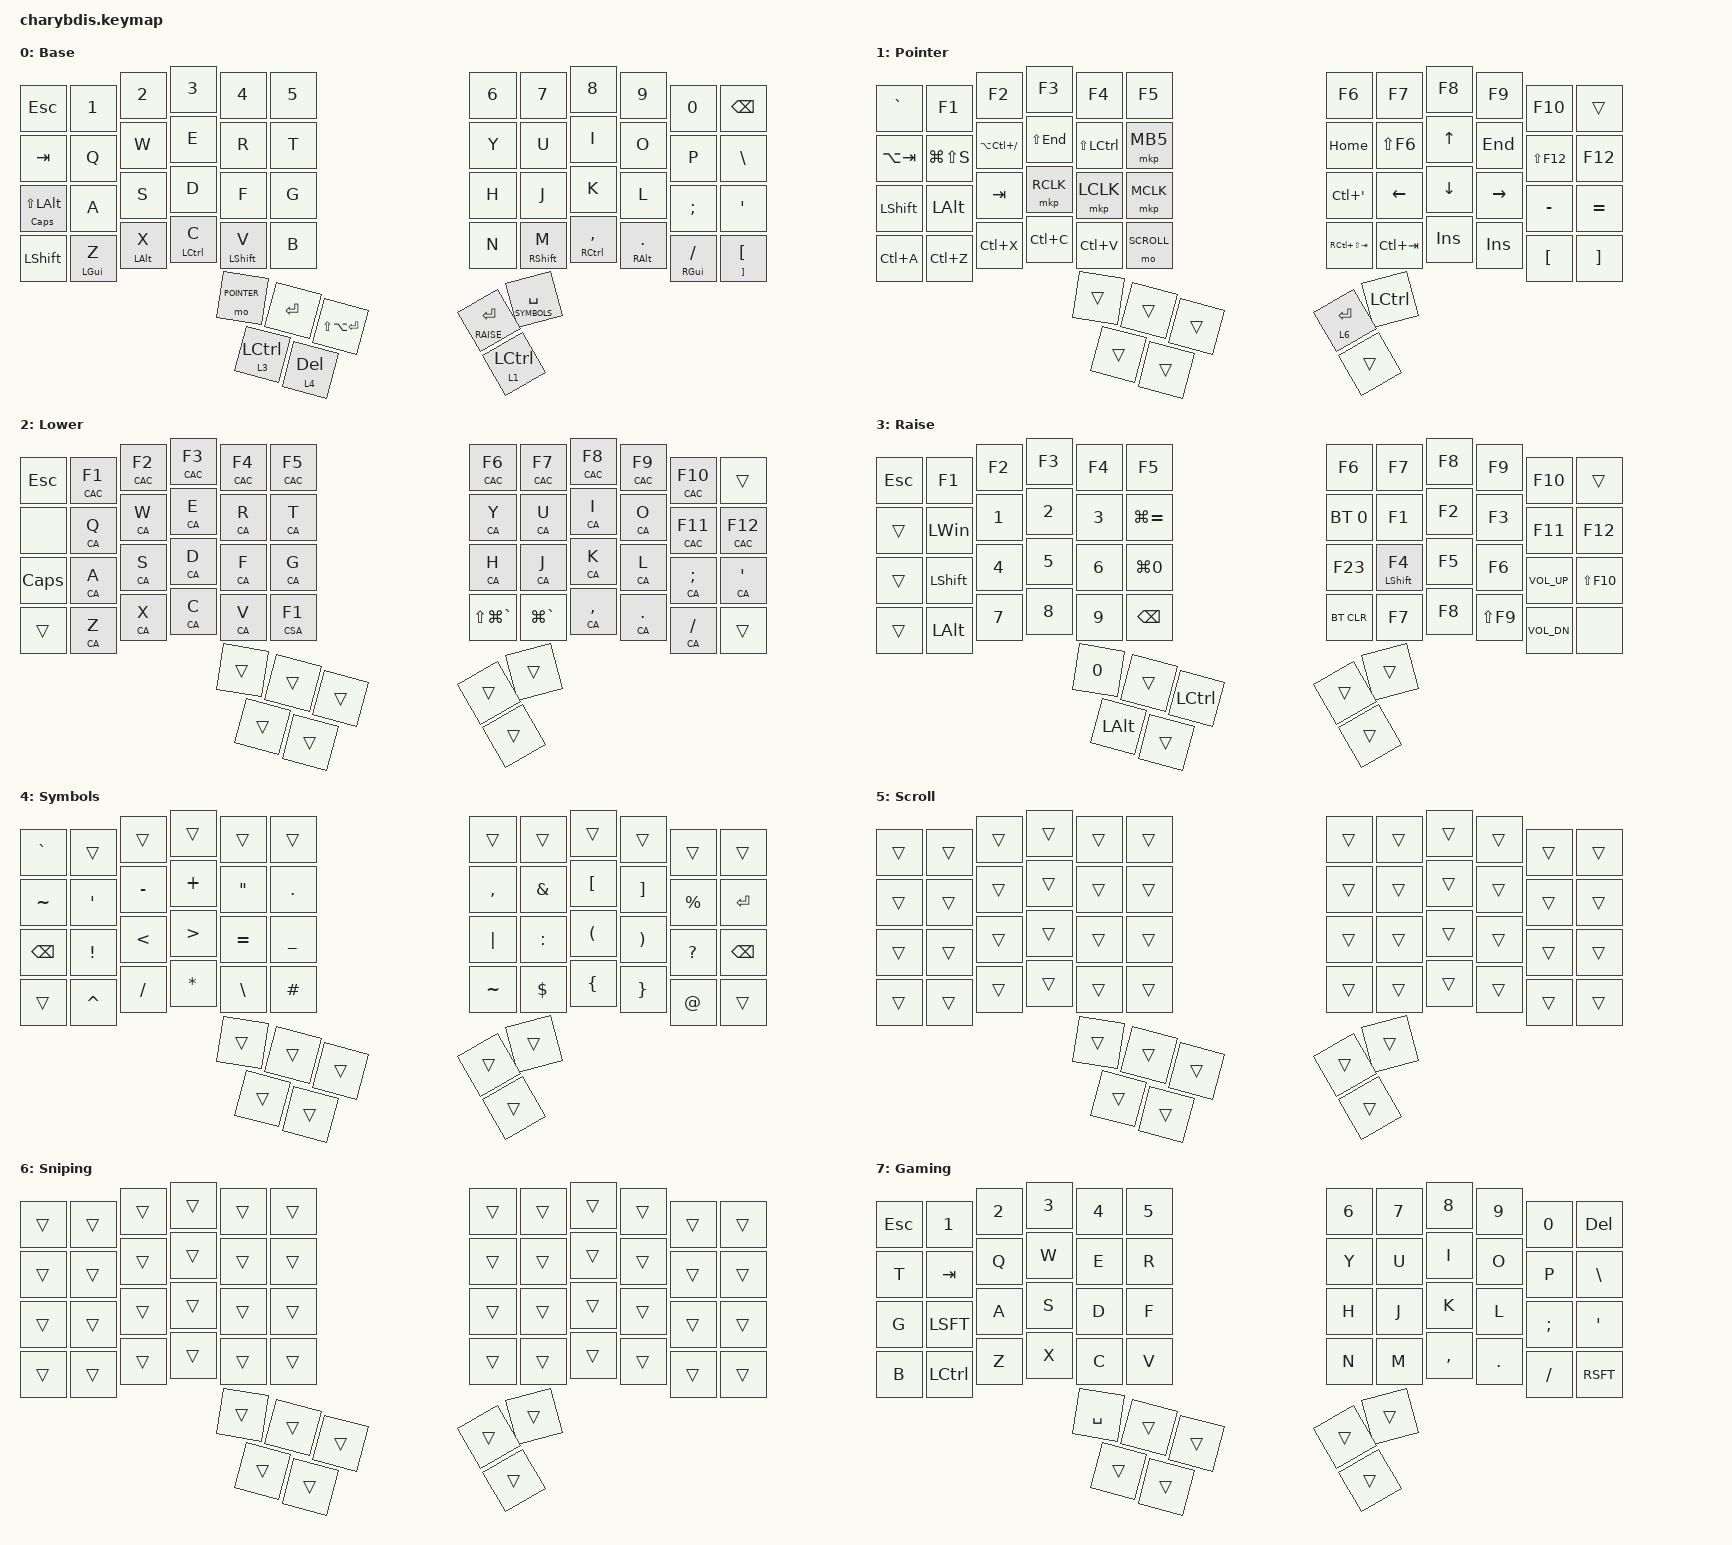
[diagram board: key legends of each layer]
#include <dt-bindings/zmk/mouse.h>
#include <behaviors/mouse_keys.dtsi>
#include <behaviors.dtsi>
#include <dt-bindings/zmk/bt.h>
#include <dt-bindings/zmk/keys.h>
#include <dt-bindings/zmk/pointing.h>

/ {
    chosen { zmk,physical-layout = &charybdis_6col_layout; };
};

&mt {
    quick-tap-ms = <200>;
    flavor = "tap-preferred";
    tapping-term-ms = <170>;
};

&lt {
    quick-tap-ms = <200>;
    flavor = "tap-preferred";
    tapping-term-ms = <170>;
};

// Layer definitions

#define BASE 0
#define POINTER 1
#define LOWER 2
#define RAISE 3
#define SYMBOLS 4
#define SCROLL 5
#define SNIPING 6
#define GAMING 7

/ {
    behaviors {
        // Hold-tap behavior for layer with tap-preferred

        blt: blt {
            compatible = "zmk,behavior-hold-tap";
            #binding-cells = <2>;
            flavor = "tap-preferred";
            tapping-term-ms = <200>;
            quick-tap-ms = <300>;
            require-prior-idle-ms = <100>;
            bindings = <&mo>, <&kp>;
        };

        // Tap-dance for GUI/Ctrl+B

        gui_ctrlb: gui_ctrlb {
            compatible = "zmk,behavior-tap-dance";
            #binding-cells = <0>;
            tapping-term-ms = <200>;
            bindings = <&kp LGUI>, <&kp LC(B)>;
        };

        // Home row mods - Left hand

        hml: home_row_mod_left {
            compatible = "zmk,behavior-hold-tap";
            #binding-cells = <2>;
            flavor = "balanced";
            require-prior-idle-ms = <150>;
            tapping-term-ms = <280>;
            quick-tap-ms = <175>;
            bindings = <&kp>, <&kp>;

            hold-trigger-key-positions = <6 7 8 9 10 11 18 19 20 21 22 23 30 31 32 33 34 35 42 43 44 45 46 47 53 54 55>; // Right side keys
            hold-trigger-on-release;
        };

        // Home row mods - Right hand

        hmr: home_row_mod_right {
            compatible = "zmk,behavior-hold-tap";
            #binding-cells = <2>;
            flavor = "balanced";
            require-prior-idle-ms = <150>;
            tapping-term-ms = <280>;
            quick-tap-ms = <175>;
            bindings = <&kp>, <&kp>;

            hold-trigger-key-positions = <0 1 2 3 4 5 12 13 14 15 16 17 24 25 26 27 28 29 36 37 38 39 40 41 48 49 50 51 52>; // Left side keys
            hold-trigger-on-release;
        };
    };

    macros {
        // Ctrl+Alt+Cmd macro

        CAC: CAC {
            compatible = "zmk,behavior-macro-one-param";
            #binding-cells = <1>;
            bindings =
                <&macro_press>,
                <&kp LCTRL &kp LALT &kp LGUI &macro_param_1to1>,
                <&macro_tap>,
                <&kp MACRO_PLACEHOLDER>,
                <&macro_release>,
                <&kp LCTRL &kp LALT &kp LGUI>;
        };

        // Ctrl+Shift+Alt macro

        CSA: CSA {
            compatible = "zmk,behavior-macro-one-param";
            #binding-cells = <1>;
            bindings =
                <&macro_press>,
                <&kp LCTRL &kp LSHIFT &kp LALT &macro_param_1to1>,
                <&macro_tap>,
                <&kp MACRO_PLACEHOLDER>,
                <&macro_release>,
                <&kp LCTRL &kp LSHIFT &kp LALT>;
        };

        // Ctrl+Alt macro

        CA: CA {
            compatible = "zmk,behavior-macro-one-param";
            #binding-cells = <1>;
            bindings =
                <&macro_press>,
                <&kp LCTRL &kp LALT &macro_param_1to1>,
                <&macro_tap>,
                <&kp MACRO_PLACEHOLDER>,
                <&macro_release>,
                <&kp LCTRL &kp LALT>;
        };

        // Shift+Middle Click macro

        ls_mclk: ls_mclk {
            compatible = "zmk,behavior-macro";
            wait-ms = <0>;
            tap-ms = <10>;
            #binding-cells = <0>;
            bindings =
                <&macro_press>,
                <&kp LSHIFT>,
                <&macro_tap>,
                <&mkp MCLK>,
                <&macro_release>,
                <&kp LSHIFT>;
        };
    };

    combos {
        compatible = "zmk,combos";
        timeout-ms = <20>;
        require-prior-idle-ms = <250>;

        // Studio Unlock Combo - all three right thumb keys

        combo_studio_unlock {
            timeout-ms = <50>;
            key-positions = <53 54 55>;
            bindings = <&studio_unlock>;
        };

        // Gaming layer toggle combo - keys 49, 55, 54

        combo_gaming_toggle {
            timeout-ms = <50>;
            key-positions = <49 55 54>;
            bindings = <&tog GAMING>;
        };
    };

    keymap {
        compatible = "zmk,keymap";

        // ╭─────────────┬─────────────┬─────────────┬─────────────┬─────────────┬─────────────╮   ╭─────────────┬─────────────┬─────────────┬─────────────┬─────────────┬─────────────╮
        //    0             1             2             3             4             5                 6             7             8             9            10            11
        // ├─────────────┼─────────────┼─────────────┼─────────────┼─────────────┼─────────────┤   ├─────────────┼─────────────┼─────────────┼─────────────┼─────────────┼─────────────┤
        //   12            13            14            15            16            17                18            19            20            21            22            23
        // ├─────────────┼─────────────┼─────────────┼─────────────┼─────────────┼─────────────┤   ├─────────────┼─────────────┼─────────────┼─────────────┼─────────────┼─────────────┤
        //   24            25            26            27            28            29                30            31            32            33            34            35
        // ├─────────────┼─────────────┼─────────────┼─────────────┼─────────────┼─────────────┤   ├─────────────┼─────────────┼─────────────┼─────────────┼─────────────┼─────────────┤
        //   36            37            38            39            40            41                42            43            44            45            46            47
        // ╰─────────────┴─────────────┴─────────────┴─────────────┴─────────────┴─────────────╯   ╰─────────────┴─────────────┴─────────────┴─────────────┴─────────────┴─────────────╯
        //               ╭─────────────┬─────────────┬─────────────┬─────────────┬─────────────╮   ╭─────────────┬─────────────┬─────────────╮
        //                  48            49            50            51            52                53            54            55
        //               ╰─────────────┴─────────────┴─────────────┴─────────────┴─────────────╯   ╰─────────────┴─────────────┴─────────────╯
        //                                                                         Actual Key Positions
        //                                          ╭─────────────┬─────────────┬─────────────╮    ╭─────────────┬─────────────╮
        //                                             50           51            48                 55            54
        //                                          ╰─────────────┼─────────────┼─────────────┤    ├─────────────┼─────────────╯
        //                                                          52            49                 53
        //                                                        ╰─────────────┴─────────────╯    ╰─────────────╯

        base_layer {
            label = "BASE";
            display-name = "Base";
            bindings = <
&kp ESC                    &kp N1              &kp N2         &kp N3        &kp N4         &kp N5               &kp N6                      &kp N7              &kp N8            &kp N9             &kp N0          &kp BACKSPACE
&kp TAB                    &kp Q               &kp W          &kp E         &kp R          &kp T                                     &kp Y  &kp U               &kp I             &kp O              &kp P           &kp BSLH
&mt CAPSLOCK LS(LEFT_ALT)  &kp A               &kp S          &kp D         &kp F          &kp G                                     &kp H  &kp J               &kp K             &kp L              &kp SEMI        &kp SQT
&kp LEFT_SHIFT             &hml LGUI Z         &hml LALT X    &hml LCTRL C  &hml LSHIFT V  &kp B                                     &kp N  &hmr RSHIFT M       &hmr RCTRL COMMA  &hmr RALT DOT      &hmr RGUI FSLH  &mt RIGHT_BRACKET LEFT_BRACKET
                           &kp LS(LA(RETURN))  &blt 4 DELETE  &mo POINTER   &kp ENTER      &blt 3 LEFT_CONTROL  &blt 1 LEFT_CONTROL         &blt SYMBOLS SPACE                    &blt RAISE RETURN
            >;
        };

        pointer_layer {
            label = "POINTER";
            display-name = "Pointer";
            bindings = <
&kp GRAVE       &kp F1         &kp F2             &kp F3       &kp F4                &kp F5      &kp F6                   &kp F7            &kp F8        &kp F9      &kp F10      &trans
&kp LA(TAB)     &kp LG(LS(S))  &kp LA(LC(SLASH))  &kp LS(END)  &kp LS(LEFT_CONTROL)  &mkp MB5            &kp HOME         &kp LS(F6)        &kp UP_ARROW  &kp END     &kp LS(F12)  &kp F12
&kp LEFT_SHIFT  &kp LEFT_ALT   &kp TAB            &mkp RCLK    &mkp LCLK             &mkp MCLK           &kp LC(SQT)      &kp LEFT_ARROW    &kp DOWN      &kp RIGHT   &kp MINUS    &kp EQUAL
&kp LC(A)       &kp LC(Z)      &kp LC(X)          &kp LC(C)    &kp LC(V)             &mo SCROLL          &kp RC(LS(TAB))  &kp LC(TAB)       &kp INS       &kp INS     &kp LBKT     &kp RBKT
                &trans         &trans             &trans       &trans                &trans      &trans                   &kp LEFT_CONTROL                &blt 6 RET
            >;
        };

        lower_layer {
            label = "LOWER";
            display-name = "Lower";
            bindings = <
&kp ESC   &CAC F1  &CAC F2  &CAC F3  &CAC F4  &CAC F5  &CAC F6                     &CAC F7        &CAC F8    &CAC F9  &CAC F10  &trans
&none     &CA Q    &CA W    &CA E    &CA R    &CA T             &CA Y              &CA U          &CA I      &CA O    &CAC F11  &CAC F12
&kp CAPS  &CA A    &CA S    &CA D    &CA F    &CA G             &CA H              &CA J          &CA K      &CA L    &CA SEMI  &CA SQT
&trans    &CA Z    &CA X    &CA C    &CA V    &CSA F1           &kp LS(LG(GRAVE))  &kp LG(GRAVE)  &CA COMMA  &CA DOT  &CA FSLH  &trans
          &trans   &trans   &trans   &trans   &trans   &trans                      &trans                    &trans
            >;
        };

        raise_layer {
            label = "RAISE";
            display-name = "Raise";
            bindings = <
&kp ESC  &kp F1            &kp F2        &kp F3        &kp F4        &kp F5         &kp F6                &kp F7             &kp F8  &kp F9      &kp F10       &trans
&trans   &kp LEFT_WIN      &kp NUMBER_1  &kp NUMBER_2  &kp NUMBER_3  &kp LG(EQUAL)          &bt BT_SEL 0  &kp F1             &kp F2  &kp F3      &kp F11       &kp F12
&trans   &kp LEFT_SHIFT    &kp NUMBER_4  &kp NUMBER_5  &kp NUMBER_6  &kp LG(N0)             &kp F23       &mt LEFT_SHIFT F4  &kp F5  &kp F6      &kp K_VOL_UP  &kp LS(F10)
&trans   &kp LEFT_ALT      &kp NUMBER_7  &kp NUMBER_8  &kp NUMBER_9  &kp BACKSPACE          &bt BT_CLR    &kp F7             &kp F8  &kp LS(F9)  &kp K_VOL_DN  &none
         &kp LEFT_CONTROL  &trans        &kp NUMBER_0  &trans        &kp LEFT_ALT   &trans                &trans                     &trans
            >;
        };

        symbols_layer {
            label = "SYMBOLS";
            display-name = "Symbols";
            bindings = <
&kp GRAVE      &trans     &trans         &trans            &trans     &trans     &trans             &trans     &trans    &trans    &trans     &trans
&kp TILDE      &kp SQT    &kp MINUS      &kp PLUS          &kp DQT    &kp DOT            &kp COMMA  &kp AMPS   &kp LBKT  &kp RBKT  &kp PRCNT  &kp RETURN
&kp BACKSPACE  &kp EXCL   &kp LESS_THAN  &kp GREATER_THAN  &kp EQUAL  &kp UNDER          &kp PIPE   &kp COLON  &kp LPAR  &kp RPAR  &kp QMARK  &kp BACKSPACE
&trans         &kp CARET  &kp FSLH       &kp ASTRK         &kp BSLH   &kp HASH           &kp TILDE  &kp DLLR   &kp LBRC  &kp RBRC  &kp AT     &trans
               &trans     &trans         &trans            &trans     &trans     &trans             &trans               &trans
            >;
        };

        scroll_layer {
            label = "SCROLL";
            display-name = "Scroll";
            bindings = <
&trans  &trans  &trans  &trans  &trans  &trans  &trans          &trans  &trans  &trans  &trans  &trans
&trans  &trans  &trans  &trans  &trans  &trans          &trans  &trans  &trans  &trans  &trans  &trans
&trans  &trans  &trans  &trans  &trans  &trans          &trans  &trans  &trans  &trans  &trans  &trans
&trans  &trans  &trans  &trans  &trans  &trans          &trans  &trans  &trans  &trans  &trans  &trans
        &trans  &trans  &trans  &trans  &trans  &trans          &trans          &trans
            >;
        };

        sniping_layer {
            label = "SNIPING";
            display-name = "Sniping";
            bindings = <
&trans  &trans  &trans  &trans  &trans  &trans  &trans          &trans  &trans  &trans  &trans  &trans
&trans  &trans  &trans  &trans  &trans  &trans          &trans  &trans  &trans  &trans  &trans  &trans
&trans  &trans  &trans  &trans  &trans  &trans          &trans  &trans  &trans  &trans  &trans  &trans
&trans  &trans  &trans  &trans  &trans  &trans          &trans  &trans  &trans  &trans  &trans  &trans
        &trans  &trans  &trans  &trans  &trans  &trans          &trans          &trans
            >;
        };

        gaming_layer {
            label = "GAMING";
            display-name = "Gaming";
            bindings = <
&kp ESC  &kp N1     &kp N2  &kp N3     &kp N4  &kp N5  &kp N6         &kp N7  &kp N8     &kp N9   &kp N0    &kp DEL
&kp T    &kp TAB    &kp Q   &kp W      &kp E   &kp R           &kp Y  &kp U   &kp I      &kp O    &kp P     &kp BSLH
&kp G    &kp LSFT   &kp A   &kp S      &kp D   &kp F           &kp H  &kp J   &kp K      &kp L    &kp SEMI  &kp SQT
&kp B    &kp LCTRL  &kp Z   &kp X      &kp C   &kp V           &kp N  &kp M   &kp COMMA  &kp DOT  &kp FSLH  &kp RSFT
         &trans     &trans  &kp SPACE  &trans  &trans  &trans         &trans             &trans
            >;
        };
    };
};
